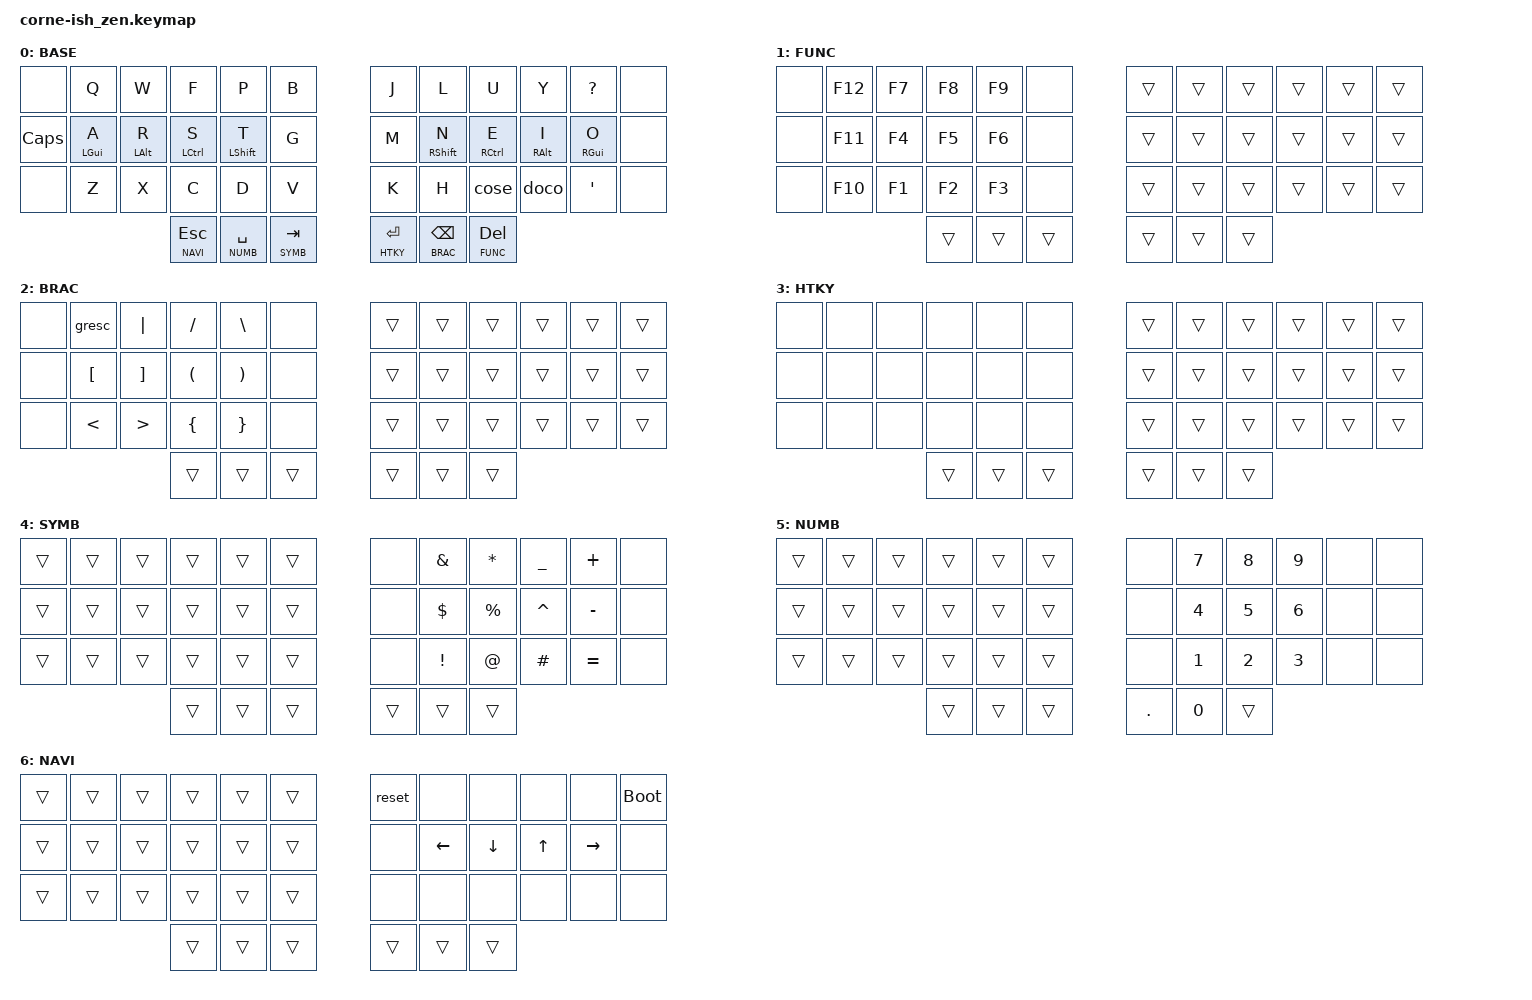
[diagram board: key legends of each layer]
/*
*
* Copyright (c) 2021 Darryl deHaan
* SPDX-License-Identifier: MIT
*
*/

#include <behaviors.dtsi>
#include <dt-bindings/zmk/keys.h>
#include <dt-bindings/zmk/bt.h>

#define BASE 0
#define FUNC 1
#define BRAC 2
#define HTKY 3
#define SYMB 4
#define NUMB 5
#define NAVI 6

/ {
	behaviors {
		hrm: home_row_mods {
			compatible = "zmk,behavior-hold-tap";
			label = "HOME_ROW_MODS";
			#binding-cells = <2>;
			flavor = "tap-preferred";
			tapping-term-ms = <150>;
			quick-tap-ms = <0>;
			bindings = <&kp>, <&kp>;
		};
		cose: comma_semicolon {
			compatible = "zmk,behavior-mod-morph";
			label = "COMMA_SEMICOLON";
			#binding-cells = <0>;
			bindings = <&kp COMMA>, <&kp SEMI>;
			mods = <(MOD_LSFT|MOD_RSFT)>;
		};
		doco: dot_colon {
			compatible = "zmk,behavior-mod-morph";
			label = "DOT_COLON";
			#binding-cells = <0>;
			bindings = <&kp DOT>, <&kp COLON>;
			mods = <(MOD_LSFT|MOD_RSFT)>;
		};
		gresc: grave_escape {
			compatible = "zmk,behavior-mod-morph";
			label = "GRAVE_ESCAPE";
			#binding-cells = <0>;
			bindings = <&kp ESC>, <&kp GRAVE>;
			mods = <(MOD_LSFT|MOD_RSFT)>;
		};
	};

	keymap {
		compatible = "zmk,keymap";
		default_layer {
			label = "BASE";
			bindings = <
				&none    &kp Q  &kp W  &kp F  &kp P  &kp B    &kp J  &kp L  &kp U  &kp Y  &kp QMARK  &none
				&kp CAPS  &hrm LGUI A  &hrm LALT R  &hrm LCTRL S  &hrm LSHFT T  &kp G    &kp M  &hrm RSHFT N  &hrm RCTRL E  &hrm RALT I  &hrm RGUI O  &none
				&none    &kp Z  &kp X  &kp C  &kp D  &kp V    &kp K  &kp H  &cose  &doco  &kp APOS  &none
				&lt NAVI ESC  &lt NUMB SPACE  &lt SYMB TAB    &lt HTKY ENTER  &lt BRAC BSPC  &lt FUNC DEL
			>;
		};
		functions_layer {
			label = "FUNC";
			bindings = <
				&none  &kp F12  &kp F7  &kp F8  &kp F9  &none    &trans  &trans  &trans  &trans  &trans  &trans
				&none  &kp F11  &kp F4  &kp F5  &kp F6  &none    &trans  &trans  &trans  &trans  &trans  &trans
				&none  &kp F10  &kp F1  &kp F2  &kp F3  &none    &trans  &trans  &trans  &trans  &trans  &trans
				&trans  &trans  &trans    &trans  &trans  &trans
			>;
		};
		brackets_layer {
			label = "BRAC";
			bindings = <
				&none  &gresc  &kp PIPE  &kp FSLH  &kp BSLH  &none       &trans  &trans  &trans  &trans  &trans  &trans
				&none  &kp LBKT  &kp RBKT  &kp LPAR  &kp RPAR  &none     &trans  &trans  &trans  &trans  &trans  &trans
				&none  &kp LT  &kp GT  &kp LBRC  &kp RBRC  &none         &trans  &trans  &trans  &trans  &trans  &trans
				&trans  &trans  &trans    &trans  &trans  &trans
			>;
		};
		hotkeys_layer {
			label = "HTKY";
			bindings = <
				&none  &none  &none  &none  &none  &none    &trans  &trans  &trans  &trans  &trans  &trans
				&none  &none  &none  &none  &none  &none    &trans  &trans  &trans  &trans  &trans  &trans
				&none  &none  &none  &none  &none  &none    &trans  &trans  &trans  &trans  &trans  &trans
				&trans  &trans  &trans    &trans  &trans  &trans
			>;
		};
		symbols_layer {
			label = "SYMB";
			bindings = <
				&trans  &trans  &trans  &trans  &trans  &trans    &none  &kp AMPS  &kp STAR  &kp UNDER  &kp PLUS  &none
				&trans  &trans  &trans  &trans  &trans  &trans    &none  &kp DLLR  &kp PRCNT  &kp CARET  &kp MINUS  &none
				&trans  &trans  &trans  &trans  &trans  &trans    &none  &kp EXCL  &kp AT  &kp HASH  &kp EQUAL  &none
				&trans  &trans  &trans    &trans  &trans  &trans
			>;
		};
		numbers_layer {
			label = "NUMB";
			bindings = <
				&trans  &trans  &trans  &trans  &trans  &trans    &none  &kp N7  &kp N8  &kp N9  &none  &none
				&trans  &trans  &trans  &trans  &trans  &trans    &none  &kp N4  &kp N5  &kp N6  &none  &none
				&trans  &trans  &trans  &trans  &trans  &trans    &none  &kp N1  &kp N2  &kp N3  &none  &none
				&trans  &trans  &trans    &kp DOT  &kp N0  &trans
			>;
		};
		navigation_layer {
			label = "NAVI";
			bindings = <
				&trans  &trans  &trans  &trans  &trans  &trans    &reset  &none  &none  &none  &none  &bootloader
				&trans  &trans  &trans  &trans  &trans  &trans    &none  &kp LEFT  &kp DOWN  &kp UP  &kp RIGHT  &none
				&trans  &trans  &trans  &trans  &trans  &trans    &none  &none  &none  &none  &none  &none
				&trans  &trans  &trans    &trans  &trans  &trans
			>;
		};
	};
};
